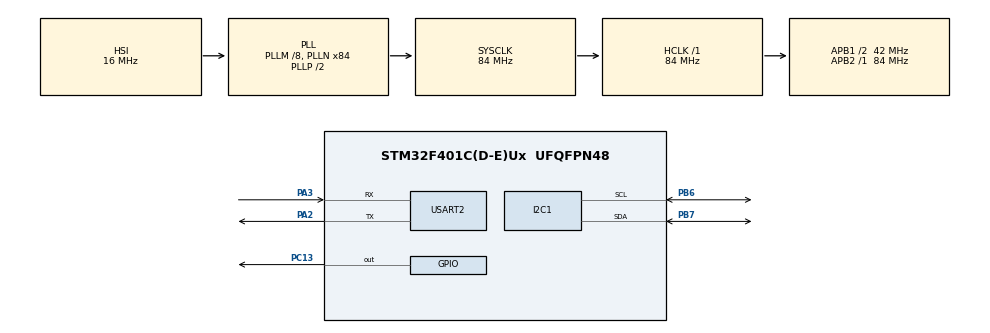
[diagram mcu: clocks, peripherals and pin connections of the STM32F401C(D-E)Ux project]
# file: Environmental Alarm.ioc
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Mcu.Family=STM32F4
Mcu.Name=STM32F401C(D-E)Ux
Mcu.Package=UFQFPN48
NVIC.PriorityGroup=NVIC_PRIORITYGROUP_4
PA13.Mode=Serial_Wire
PA13.Signal=SYS_JTMS-SWDIO
PA14.Mode=Serial_Wire
PA14.Signal=SYS_JTCK-SWCLK
PA2.Mode=Asynchronous
PA2.Signal=USART2_TX
PA3.Mode=Asynchronous
PA3.Signal=USART2_RX
PB6.Mode=I2C
PB6.Signal=I2C1_SCL
PB7.Mode=I2C
PB7.Signal=I2C1_SDA
PC13-ANTI_TAMP.Signal=GPIO_Output
ProjectManager.HeapSize=0x200
ProjectManager.StackSize=0x400
ProjectManager.TargetToolchain=STM32CubeIDE
RCC.48MHZClocksFreq_Value=42000000
RCC.AHBFreq_Value=84000000
RCC.APB1CLKDivider=RCC_HCLK_DIV2
RCC.APB1Freq_Value=42000000
RCC.APB1TimFreq_Value=84000000
RCC.APB2Freq_Value=84000000
RCC.APB2TimFreq_Value=84000000
RCC.CortexFreq_Value=84000000
RCC.HCLKFreq_Value=84000000
RCC.HSE_VALUE=25000000
RCC.HSI_VALUE=16000000
RCC.LSE_VALUE=32768
RCC.PLLM=8
RCC.PLLN=84
RCC.SYSCLKFreq_VALUE=84000000
RCC.SYSCLKSource=RCC_SYSCLKSOURCE_PLLCLK
RCC.VCOOutputFreq_Value=168000000
USART2.VirtualMode=VM_ASYNC
board=custom

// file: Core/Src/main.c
/* USER CODE BEGIN Header */
/**
  ******************************************************************************
  * @file           : main.c
  * @brief          : Main program body
  ******************************************************************************
  * @attention
  *
  * Copyright (c) 2026 STMicroelectronics.
  * All rights reserved.
  *
  * This software is licensed under terms that can be found in the LICENSE file
  * in the root directory of this software component.
  * If no LICENSE file comes with this software, it is provided AS-IS.
  *
  ******************************************************************************
  */
/* USER CODE END Header */
#include "main.h"
#include <stdio.h>
#include <stdlib.h>
#include <bme280.h>
#include <string.h>

I2C_HandleTypeDef hi2c1;

UART_HandleTypeDef huart2;

void SystemClock_Config(void);
static void MX_GPIO_Init(void);
static void MX_I2C1_Init(void);
static void MX_USART2_UART_Init(void);

/* USER CODE BEGIN 0 */
extern I2C_HandleTypeDef hi2c1;
extern UART_HandleTypeDef huart2;

struct bme280_dev bme;
struct bme280_data comp_data;
char msg[128];

void user_delay_us(uint32_t period, void *intf_ptr)
{
    HAL_Delay(period / 1000);
}

BME280_INTF_RET_TYPE bme280_i2c_read(
    uint8_t reg_addr,
    uint8_t *reg_data,
    uint32_t len,
    void *intf_ptr)
{
    HAL_I2C_Mem_Read(
        &hi2c1,
        0x76 << 1,
        reg_addr,
        I2C_MEMADD_SIZE_8BIT,
        reg_data,
        len,
        100);

    return BME280_OK;
}

BME280_INTF_RET_TYPE bme280_i2c_write(
    uint8_t reg_addr,
    const uint8_t *reg_data,
    uint32_t len,
    void *intf_ptr)
{
    HAL_I2C_Mem_Write(
        &hi2c1,
        0x76 << 1,
        reg_addr,
        I2C_MEMADD_SIZE_8BIT,
        (uint8_t*)reg_data,
        len,
        100);

    return BME280_OK;
}

/* USER CODE END 0 */

int main(void)
{

  /* MCU Configuration--------------------------------------------------------*/

  /* Reset of all peripherals, Initializes the Flash interface and the Systick. */
  HAL_Init();

  /* Configure the system clock */
  SystemClock_Config();

  /* Initialize all configured peripherals */
  MX_GPIO_Init();
  MX_I2C1_Init();
  MX_USART2_UART_Init();

  /* USER CODE BEGIN 2 */
  bme.intf = BME280_I2C_INTF;
  bme.read = bme280_i2c_read;
  bme.write = bme280_i2c_write;
  bme.delay_us = user_delay_us;
  bme.intf_ptr = NULL;

  bme280_init(&bme);

  uint8_t ctrl_hum = 0x01;

  HAL_I2C_Mem_Write(
      &hi2c1,
      0x76 << 1,
      0xF2,
      I2C_MEMADD_SIZE_8BIT,
      &ctrl_hum,
      1,
      100);

  uint8_t ctrl_meas = 0x27;

  HAL_I2C_Mem_Write(
      &hi2c1,
      0x76 << 1,
      0xF4,
      I2C_MEMADD_SIZE_8BIT,
      &ctrl_meas,
      1,
      100);

  uint8_t config = 0x00;

  HAL_I2C_Mem_Write(
      &hi2c1,
      0x76 << 1,
      0xF5,
      I2C_MEMADD_SIZE_8BIT,
      &config,
      1,
      100);

  /* USER CODE END 2 */

  /* Infinite loop */
  while (1)
  {
	  bme280_get_sensor_data(
	          BME280_ALL,
	          &comp_data,
	          &bme);

	      char msg[128];

	      if(comp_data.temperature > 28.0)
	      {
	          HAL_GPIO_WritePin(
	              GPIOC,
	              GPIO_PIN_13,
	              GPIO_PIN_RESET);

	          sprintf(msg,
	          "ALARM! HIGH TEMP %.2f C\r\n",
	          comp_data.temperature);
	      }
	      else
	      {
	          HAL_GPIO_WritePin(
	              GPIOC,
	              GPIO_PIN_13,
	              GPIO_PIN_SET);

	          sprintf(msg,
	          "NORMAL Temp: %.2f C Hum: %.2f %% Press: %.2f hPa\r\n",
	          comp_data.temperature,
	          comp_data.humidity,
	          comp_data.pressure / 100.0);
	      }

	      HAL_UART_Transmit(
	          &huart2,
	          (uint8_t*)msg,
	          strlen(msg),
	          HAL_MAX_DELAY);

	      HAL_Delay(2000);

  }
}

void SystemClock_Config(void)
{
  RCC_OscInitTypeDef RCC_OscInitStruct = {0};
  RCC_ClkInitTypeDef RCC_ClkInitStruct = {0};

  /** Configure the main internal regulator output voltage
  */
  __HAL_RCC_PWR_CLK_ENABLE();
  __HAL_PWR_VOLTAGESCALING_CONFIG(PWR_REGULATOR_VOLTAGE_SCALE2);

  /** Initializes the RCC Oscillators according to the specified parameters
  * in the RCC_OscInitTypeDef structure.
  */
  RCC_OscInitStruct.OscillatorType = RCC_OSCILLATORTYPE_HSI;
  RCC_OscInitStruct.HSIState = RCC_HSI_ON;
  RCC_OscInitStruct.HSICalibrationValue = RCC_HSICALIBRATION_DEFAULT;
  RCC_OscInitStruct.PLL.PLLState = RCC_PLL_ON;
  RCC_OscInitStruct.PLL.PLLSource = RCC_PLLSOURCE_HSI;
  RCC_OscInitStruct.PLL.PLLM = 8;
  RCC_OscInitStruct.PLL.PLLN = 84;
  RCC_OscInitStruct.PLL.PLLP = RCC_PLLP_DIV2;
  RCC_OscInitStruct.PLL.PLLQ = 4;
  if (HAL_RCC_OscConfig(&RCC_OscInitStruct) != HAL_OK)
  {
    Error_Handler();
  }

  /** Initializes the CPU, AHB and APB buses clocks
  */
  RCC_ClkInitStruct.ClockType = RCC_CLOCKTYPE_HCLK|RCC_CLOCKTYPE_SYSCLK
                              |RCC_CLOCKTYPE_PCLK1|RCC_CLOCKTYPE_PCLK2;
  RCC_ClkInitStruct.SYSCLKSource = RCC_SYSCLKSOURCE_PLLCLK;
  RCC_ClkInitStruct.AHBCLKDivider = RCC_SYSCLK_DIV1;
  RCC_ClkInitStruct.APB1CLKDivider = RCC_HCLK_DIV2;
  RCC_ClkInitStruct.APB2CLKDivider = RCC_HCLK_DIV1;

  if (HAL_RCC_ClockConfig(&RCC_ClkInitStruct, FLASH_LATENCY_2) != HAL_OK)
  {
    Error_Handler();
  }
}

static void MX_I2C1_Init(void)
{

  hi2c1.Instance = I2C1;
  hi2c1.Init.ClockSpeed = 100000;
  hi2c1.Init.DutyCycle = I2C_DUTYCYCLE_2;
  hi2c1.Init.OwnAddress1 = 0;
  hi2c1.Init.AddressingMode = I2C_ADDRESSINGMODE_7BIT;
  hi2c1.Init.DualAddressMode = I2C_DUALADDRESS_DISABLE;
  hi2c1.Init.OwnAddress2 = 0;
  hi2c1.Init.GeneralCallMode = I2C_GENERALCALL_DISABLE;
  hi2c1.Init.NoStretchMode = I2C_NOSTRETCH_DISABLE;
  if (HAL_I2C_Init(&hi2c1) != HAL_OK)
  {
    Error_Handler();
  }

}

static void MX_USART2_UART_Init(void)
{

  huart2.Instance = USART2;
  huart2.Init.BaudRate = 115200;
  huart2.Init.WordLength = UART_WORDLENGTH_8B;
  huart2.Init.StopBits = UART_STOPBITS_1;
  huart2.Init.Parity = UART_PARITY_NONE;
  huart2.Init.Mode = UART_MODE_TX_RX;
  huart2.Init.HwFlowCtl = UART_HWCONTROL_NONE;
  huart2.Init.OverSampling = UART_OVERSAMPLING_16;
  if (HAL_UART_Init(&huart2) != HAL_OK)
  {
    Error_Handler();
  }

}

static void MX_GPIO_Init(void)
{
  GPIO_InitTypeDef GPIO_InitStruct = {0};

  /* GPIO Ports Clock Enable */
  __HAL_RCC_GPIOC_CLK_ENABLE();
  __HAL_RCC_GPIOA_CLK_ENABLE();
  __HAL_RCC_GPIOB_CLK_ENABLE();

  /*Configure GPIO pin Output Level */
  HAL_GPIO_WritePin(GPIOC, GPIO_PIN_13, GPIO_PIN_RESET);

  /*Configure GPIO pin : PC13 */
  GPIO_InitStruct.Pin = GPIO_PIN_13;
  GPIO_InitStruct.Mode = GPIO_MODE_OUTPUT_PP;
  GPIO_InitStruct.Pull = GPIO_NOPULL;
  GPIO_InitStruct.Speed = GPIO_SPEED_FREQ_LOW;
  HAL_GPIO_Init(GPIOC, &GPIO_InitStruct);

}

void Error_Handler(void)
{
  __disable_irq();
  while (1)
  {
  }
}
